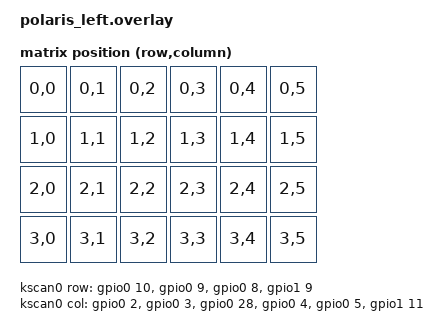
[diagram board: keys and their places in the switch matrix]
#include <dt-bindings/zmk/matrix_transform.h>

/ {
    chosen {
        zmk,kscan = &kscan0;
        zmk,matrix_transform = &default_transform;
    };

    default_transform: matrix_transform {
        compatible = "zmk,matrix-transform";
        rows = <4>;
        columns = <12>;

        map = <
            RC(0,0) RC(0,1) RC(0,2) RC(0,3) RC(0,4) RC(0,5)
            RC(1,0) RC(1,1) RC(1,2) RC(1,3) RC(1,4) RC(1,5)
            RC(2,0) RC(2,1) RC(2,2) RC(2,3) RC(2,4) RC(2,5)
            RC(3,0) RC(3,1) RC(3,2) RC(3,3) RC(3,4) RC(3,5)
        >;
    };

    kscan0: kscan_0 {
        compatible = "zmk,kscan-gpio-matrix";
        label = "KSCAN";
        diode-direction = "col2row";

        // 回路図 Polaris_L.kicad_sch の U1 ラベルより完全に一致するGPIOを抽出
        col-gpios
            = <&gpio0 2  GPIO_ACTIVE_HIGH> // Col0 (PA02_A0_D0)
            , <&gpio0 3  GPIO_ACTIVE_HIGH> // Col1 (PA03_A1_D1)
            , <&gpio0 28 GPIO_ACTIVE_HIGH> // Col2 (PA28_A2_D2) ※ココが修正点です
            , <&gpio0 4  GPIO_ACTIVE_HIGH> // Col3 (PA04_A4_D4_SDA)
            , <&gpio0 5  GPIO_ACTIVE_HIGH> // Col4 (PA05_A5_D5_SCL)
            , <&gpio1 11 GPIO_ACTIVE_HIGH> // Col5 (PB11_A6_D6_TX) ※ココが修正点です
            ;

        row-gpios
            = <&gpio0 10 (GPIO_ACTIVE_HIGH | GPIO_PULL_DOWN)> // Row0 (PA10_A10_D10_MISO) ※ココが修正点です
            , <&gpio0 9  (GPIO_ACTIVE_HIGH | GPIO_PULL_DOWN)> // Row1 (PA09_A9_D9_MOSI)
            , <&gpio0 8  (GPIO_ACTIVE_HIGH | GPIO_PULL_DOWN)> // Row2 (PA08_A8_D8_SCK)
            , <&gpio1 9  (GPIO_ACTIVE_HIGH | GPIO_PULL_DOWN)> // Row3 (PB09_A7_D7_RX)
            ;
    };
};

&uicr {
    nfct-pins-as-gpios;
};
